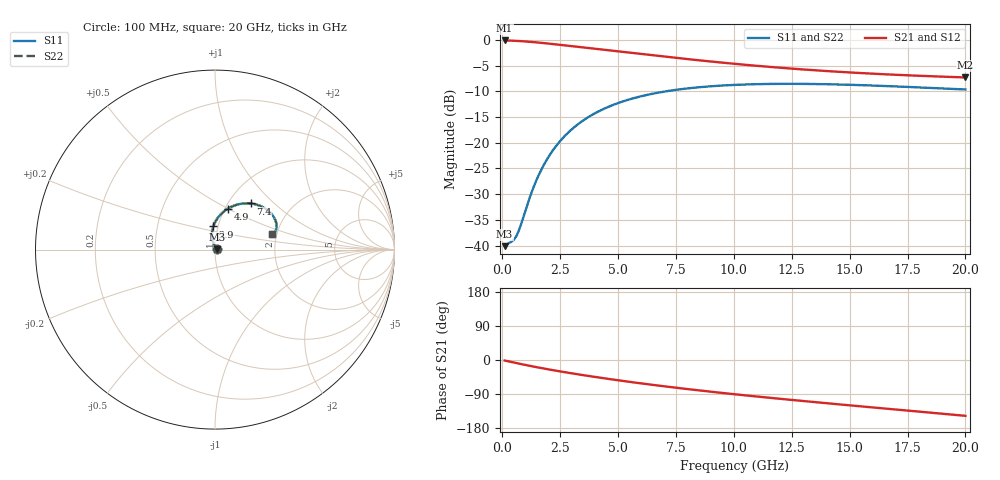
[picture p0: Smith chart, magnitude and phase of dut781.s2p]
! Touchstone file exported from HFSS 2024.1.0
!  File:  C:/UserFiles/LocalFiles/RDL_TSV_Batchsim/temp_RDL_TSV_781_1779905226.aedt
!  Generated:  02:22:37 AM May 28, 2026
!  Design:  RDL_TSV
!  Project:  temp_RDL_TSV_781_1779905226
!  Setup:  Setup1
!  Solution:  Sweep
! Variables:
!  dtsv = 9.77um
!  hbump = 3um
!  htsv = 56.27um
!  ldown = 194.5um
!  lrdl = 394.97um
!  p = 40
!  p1 = 54.93um
!  rhole = 10um
!  subl = 2163.38um
!  t = 450um
!  tdown = 3.37um
!  trdl = 4.95um
!  viad = 10um
!  wdown = 15.39um
!  wrdl = 22.83um
!  xbump = 18um
# GHz S MA R 50.000000
! Terminal data exported
! Port[1] = TM1_1_T1
! Port[2] = TM1_4_T1
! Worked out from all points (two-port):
!   200 points, 100 MHz to 20 GHz, reference 50 ohm
!   highest |S21| = -0.09 dB at 100 MHz (marker M1); lowest = -7.3 dB at 20 GHz (marker M2)
!   |S21| within 3 dB of the highest: start of sweep to 6.714 GHz
!   lowest |S11| = -40.1 dB at 100 MHz (marker M3), VSWR 1.02, Z = 51 + j0.201 ohm
!   |S11| at or under -10 dB: start of sweep to 7.049 GHz
!   |S22| runs from -40.1 to -8.5 dB; largest |S21 - S12| = 1.7e-14
!   S11 on the Smith chart (normalised r, x): 100 MHz: 1.02, +0.00; 2.9 GHz: 0.95, +0.25; 4.9 GHz: 1.03, +0.50; 7.4 GHz: 1.26, +0.73; 20 GHz: 1.89, +0.37
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0.1  0.009867 11.5  0.9899 -1.4  0.9899 -1.4  0.009867 11.5
! Gamma 0 0 0 0
! Port Impedance 50 0 50 0
0.5  0.01139 50.4  0.9834 -6.7  0.9834 -6.7  0.01139 50.4
0.6  0.01226 61.7  0.981 -8.0  0.981 -8.0  0.01226 61.6
0.8  0.01585 81.7  0.9752 -10.5  0.9752 -10.5  0.01585 81.7
1.1  0.02574 98.5  0.9644 -14.3  0.9644 -14.3  0.02573 98.5
1.3  0.03456 103.2  0.9561 -16.7  0.9561 -16.7  0.03454 103.1
1.5  0.04461 104.9  0.9471 -19.1  0.9471 -19.1  0.04459 104.9
1.8  0.06131 104.7  0.9327 -22.5  0.9327 -22.5  0.06128 104.7
2.3  0.09161 100.8  0.9075 -28.0  0.9075 -28.0  0.09156 100.8
2.9  0.1291 94.3  0.8768 -34.2  0.8768 -34.2  0.129 94.3
3.5  0.1654 87.4  0.8465 -40.0  0.8465 -40.0  0.1653 87.4
4.2  0.2044 79.7  0.8124 -46.5  0.8124 -46.5  0.2042 79.7
4.9  0.2389 72.6  0.7795 -52.6  0.7795 -52.6  0.2388 72.6
5.8  0.2764 64.4  0.7392 -60.1  0.7392 -60.1  0.2762 64.4
6.8  0.3094 56.5  0.6974 -68.0  0.6974 -68.0  0.3091 56.4
7.4  0.3251 52.2  0.6739 -72.4  0.6739 -72.4  0.3248 52.2
8.7  0.3503 44.1  0.6276 -81.6  0.6276 -81.6  0.35 44.1
10.1  0.3664 36.9  0.5847 -90.8  0.5847 -90.8  0.366 36.8
11.7  0.3741 30.2  0.544 -100.7  0.544 -100.7  0.3737 30.1
13.4  0.3734 24.6  0.5094 -110.6  0.5094 -110.6  0.3729 24.5
16.7  0.3557 17.6  0.4619 -129.1  0.4619 -129.1  0.3553 17.5
20  0.33 15.4  0.4324 -147.4  0.4324 -147.4  0.3296 15.4
